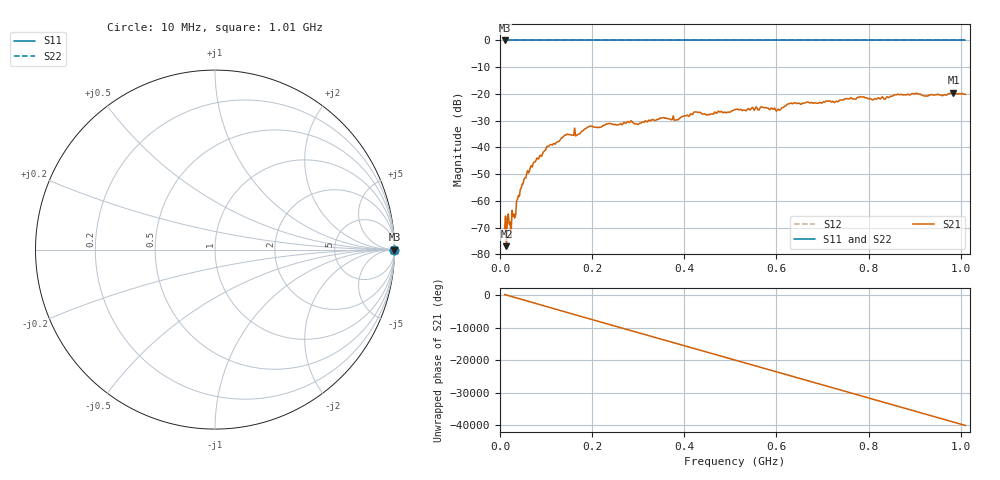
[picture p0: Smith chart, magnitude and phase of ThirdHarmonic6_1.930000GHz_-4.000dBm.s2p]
! 8/16/2025 11:15:33 PM
! C:\ANRITSUVNA\TEMP\TEMP.S2P
! CHANNEL.1
! TR.MEASUREMENT
! RAW.DATA
! RF.CORRECTION.OFF
! AVERAGING.OFF
! IF.BANDWIDTH: 5KHZ
! SWEEPTYPE:  FREQ.SWEEP(Linear)
! Reference Plane Port Info
! PORT:  PORT1  PORT2
! DISTANCE:  0  m  0  m
! TIME:  0  s  0  s
! PHASE.OFFSET:  0  deg.  0  deg.
! LOSS:  0  dB  0  dB
! REF.LOSS:  0  dB  0  dB
! REF.FREQ:  0  Hz  0  Hz
! Power Info
! POWER:  -20  dBm  -20  dBm
! EFF.POWER:  -20  dBm  -20  dBm
! SOURCE.ATTEN:  0  dB  0  dB
! TEST.ATTEN:  0  dB  0  dB
# GHZ S RI R 50.0
! FREQ.GHZ  S11RE  S11IM  S21RE  S21IM  S12RE  S12IM  S22RE  S22IM
!; PortSelection: Port_12
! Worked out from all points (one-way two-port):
!   501 points, 10 MHz to 1.01 GHz, reference 50 ohm
!   highest |S21| = -19.58 dB at 984 MHz (marker M1); lowest = -76.9 dB at 14 MHz (marker M2)
!   lowest |S11| = 0.0 dB at 10 MHz (marker M3)
!   |S11| at or under -10 dB: nowhere
!   |S22| runs from 0.0 to 0.0 dB; largest |S21 - S12| = 1.1
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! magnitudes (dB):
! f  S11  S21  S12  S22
! 10 MHz  0.0  -70.7  0.0  0.0
! 14 MHz  0.0  -76.9  0.0  0.0
! 28 MHz  0.0  -65.8  0.0  0.0
! 48 MHz  0.0  -53.7  0.0  0.0
! 76 MHz  0.0  -45.5  0.0  0.0
! 106 MHz  0.0  -39.5  0.0  0.0
! 142 MHz  0.0  -35.5  0.0  0.0
! 178 MHz  0.0  -33.9  0.0  0.0
! 196 MHz  0.0  -32.0  0.0  0.0
! 282 MHz  0.0  -30.5  0.0  0.0
! 296 MHz  0.0  -31.1  0.0  0.0
! 344 MHz  0.0  -29.6  0.0  0.0
! 382 MHz  0.0  -29.8  0.0  0.0
! 424 MHz  0.0  -26.8  0.0  0.0
! 452 MHz  0.0  -27.7  0.0  0.0
! 510 MHz  0.0  -25.8  0.0  0.0
! 604 MHz  0.0  -25.7  0.0  0.0
! 628 MHz  0.0  -23.6  0.0  0.0
! 678 MHz  0.0  -23.4  0.0  0.0
! 844 MHz  0.0  -21.4  0.0  0.0
! 984 MHz  0.0  -19.6  0.0  0.0
! 1.01 GHz  0.0  -20.1  0.0  0.0
